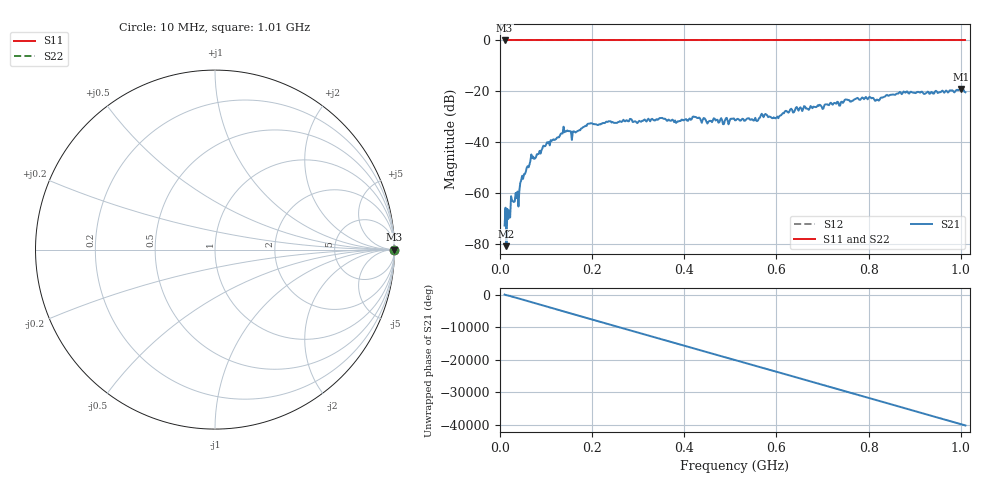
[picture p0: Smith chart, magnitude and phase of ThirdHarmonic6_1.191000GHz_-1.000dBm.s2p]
! 8/16/2025 12:15:06 PM
! C:\ANRITSUVNA\TEMP\TEMP.S2P
! CHANNEL.1
! TR.MEASUREMENT
! RAW.DATA
! RF.CORRECTION.OFF
! AVERAGING.OFF
! IF.BANDWIDTH: 5KHZ
! SWEEPTYPE:  FREQ.SWEEP(Linear)
! Reference Plane Port Info
! PORT:  PORT1  PORT2
! DISTANCE:  0  m  0  m
! TIME:  0  s  0  s
! PHASE.OFFSET:  0  deg.  0  deg.
! LOSS:  0  dB  0  dB
! REF.LOSS:  0  dB  0  dB
! REF.FREQ:  0  Hz  0  Hz
! Power Info
! POWER:  -20  dBm  -20  dBm
! EFF.POWER:  -20  dBm  -20  dBm
! SOURCE.ATTEN:  0  dB  0  dB
! TEST.ATTEN:  0  dB  0  dB
# GHZ S RI R 50.0
! FREQ.GHZ  S11RE  S11IM  S21RE  S21IM  S12RE  S12IM  S22RE  S22IM
!; PortSelection: Port_12
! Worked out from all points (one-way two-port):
!   501 points, 10 MHz to 1.01 GHz, reference 50 ohm
!   highest |S21| = -19.05 dB at 1 GHz (marker M1); lowest = -81.0 dB at 14 MHz (marker M2)
!   lowest |S11| = 0.0 dB at 10 MHz (marker M3)
!   |S11| at or under -10 dB: nowhere
!   |S22| runs from 0.0 to 0.0 dB; largest |S21 - S12| = 1.1
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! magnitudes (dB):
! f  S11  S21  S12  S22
! 10 MHz  0.0  -72.9  0.0  0.0
! 14 MHz  0.0  -81.0  0.0  0.0
! 18 MHz  0.0  -70.3  0.0  0.0
! 20 MHz  0.0  -67.0  0.0  0.0
! 28 MHz  0.0  -63.3  0.0  0.0
! 36 MHz  0.0  -62.1  0.0  0.0
! 48 MHz  0.0  -53.3  0.0  0.0
! 68 MHz  0.0  -44.9  0.0  0.0
! 136 MHz  0.0  -36.6  0.0  0.0
! 160 MHz  0.0  -35.8  0.0  0.0
! 178 MHz  0.0  -34.5  0.0  0.0
! 196 MHz  0.0  -32.7  0.0  0.0
! 344 MHz  0.0  -31.0  0.0  0.0
! 510 MHz  0.0  -31.4  0.0  0.0
! 556 MHz  0.0  -31.6  0.0  0.0
! 572 MHz  0.0  -30.2  0.0  0.0
! 600 MHz  0.0  -30.4  0.0  0.0
! 618 MHz  0.0  -28.0  0.0  0.0
! 678 MHz  0.0  -26.7  0.0  0.0
! 844 MHz  0.0  -21.8  0.0  0.0
! 1 GHz  0.0  -19.1  0.0  0.0
! 1.01 GHz  0.0  -20.4  0.0  0.0
